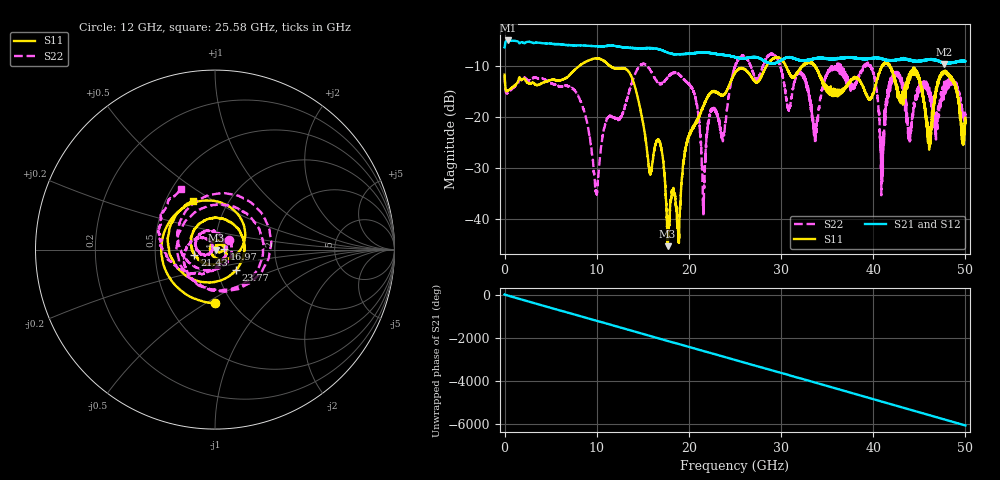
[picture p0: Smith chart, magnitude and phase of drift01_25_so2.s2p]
!Created with skrf (http://scikit-rf.org).
# Hz S RI R 50.0
!freq ReS11 ImS11 ReS21 ImS21 ReS12 ImS12 ReS22 ImS22
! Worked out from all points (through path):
!   10001 points, 300 kHz to 50 GHz, reference 50 ohm
!   highest |S21| = -5.05 dB at 395.3 MHz (marker M1); lowest = -9.7 dB at 47.67 GHz (marker M2)
!   group delay of S21, straight-line fit = 336 ps
!   lowest |S11| = -45.4 dB at 17.69 GHz (marker M3), VSWR 1.01, Z = 50.5 - j0.15 ohm
!   |S11| at or under -10 dB: start of sweep to 8.15 GHz; 11.41 GHz to 28.44 GHz (17.03 GHz wide, 85.5 % of centre); 41.79 GHz to end of sweep (the widest 3 of 11)
!   |S22| runs from -39.5 to -7.6 dB; largest |S21 - S12| = 0.011
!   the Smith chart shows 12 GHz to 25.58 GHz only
!   S11 on the Smith chart (normalised r, x): 12 GHz: 0.84, -0.55; 16.97 GHz: 1.11, +0.01; 21.43 GHz: 0.79, -0.05; 23.77 GHz: 1.23, -0.29; 25.58 GHz: 0.68, +0.41
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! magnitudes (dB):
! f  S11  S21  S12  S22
! 300 kHz  -11.8  -6.4  -6.5  -11.8
! 395.3 MHz  -14.8  -5.1  -5.1  -15.2
! 8.335 GHz  -9.8  -6.0  -6.0  -17.4
! 9.935 GHz  -8.6  -6.2  -6.2  -34.4
! 12 GHz  -10.5  -6.1  -6.1  -20.4
! 15.77 GHz  -31.1  -6.6  -6.6  -10.8
! 16.67 GHz  -24.5  -6.8  -6.8  -13.4
! 16.97 GHz  -25.9  -6.9  -6.9  -13.5
! 17.69 GHz  -45.4  -7.4  -7.4  -12.3
! 20.47 GHz  -22.0  -7.6  -7.5  -15.0
! 21.43 GHz  -18.5  -7.4  -7.4  -30.0
! 22.47 GHz  -15.2  -7.5  -7.5  -18.9
! 23.77 GHz  -15.7  -7.9  -7.9  -23.2
! 25 GHz  -11.4  -8.3  -8.4  -10.2
! 25.58 GHz  -10.5  -8.5  -8.6  -8.2
! 33.34 GHz  -9.5  -8.7  -8.7  -19.4
! 39.51 GHz  -16.5  -8.6  -8.6  -10.0
! 40.95 GHz  -10.0  -8.7  -8.7  -29.5
! 41.67 GHz  -9.8  -8.9  -9.0  -15.3
! 46.1 GHz  -25.7  -8.8  -8.8  -14.6
! 47.67 GHz  -11.3  -9.7  -9.6  -14.5
! 50 GHz  -21.1  -9.2  -9.2  -20.4
